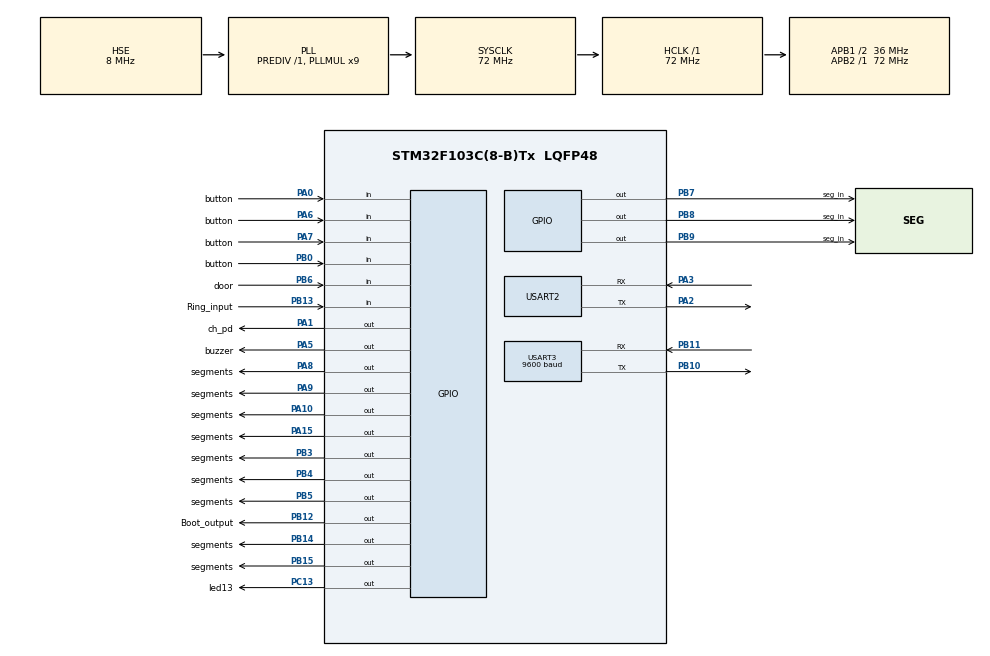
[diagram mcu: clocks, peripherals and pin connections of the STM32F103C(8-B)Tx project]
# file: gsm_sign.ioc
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FREERTOS.Tasks01=defaultTask,0,128,StartDefaultTask,Default,NULL
FREERTOS.configTOTAL_HEAP_SIZE=11000
Mcu.Family=STM32F1
Mcu.Name=STM32F103C(8-B)Tx
Mcu.Package=LQFP48
NVIC.PriorityGroup=NVIC_PRIORITYGROUP_4
NVIC.TIM1_UP_IRQn=true\:0\:0\:false\:false\:true\:false\:false
NVIC.TimeBase=TIM1_UP_IRQn
NVIC.TimeBaseIP=TIM1
NVIC.USART2_IRQn=true\:5\:0\:false\:false\:true\:true\:true
NVIC.USART3_IRQn=true\:5\:0\:false\:false\:true\:true\:true
PA0-WKUP.GPIO_Label=button
PA0-WKUP.GPIO_PuPd=GPIO_PULLDOWN
PA0-WKUP.Signal=GPIO_Input
PA1.GPIO_Label=ch_pd
PA1.Signal=GPIO_Output
PA10.GPIO_Label=segments
PA10.GPIO_Speed=GPIO_SPEED_FREQ_HIGH
PA10.Signal=GPIO_Output
PA13.Mode=Serial_Wire
PA13.Signal=SYS_JTMS-SWDIO
PA14.Mode=Serial_Wire
PA14.Signal=SYS_JTCK-SWCLK
PA15.GPIO_Label=segments
PA15.GPIO_Speed=GPIO_SPEED_FREQ_HIGH
PA15.Signal=GPIO_Output
PA2.Mode=Asynchronous
PA2.Signal=USART2_TX
PA3.Mode=Asynchronous
PA3.Signal=USART2_RX
PA5.GPIO_Label=buzzer
PA5.GPIO_Speed=GPIO_SPEED_FREQ_MEDIUM
PA5.PinState=GPIO_PIN_SET
PA5.Signal=GPIO_Output
PA6.GPIO_Label=button
PA6.GPIO_PuPd=GPIO_PULLDOWN
PA6.Signal=GPIO_Input
PA7.GPIO_Label=button
PA7.GPIO_PuPd=GPIO_PULLDOWN
PA7.Signal=GPIO_Input
PA8.GPIO_Label=segments
PA8.GPIO_Speed=GPIO_SPEED_FREQ_HIGH
PA8.Signal=GPIO_Output
PA9.GPIO_Label=segments
PA9.GPIO_Speed=GPIO_SPEED_FREQ_HIGH
PA9.Signal=GPIO_Output
PB0.GPIO_Label=button
PB0.GPIO_PuPd=GPIO_PULLDOWN
PB0.Signal=GPIO_Input
PB10.Mode=Asynchronous
PB10.Signal=USART3_TX
PB11.Mode=Asynchronous
PB11.Signal=USART3_RX
PB12.GPIO_Label=Boot_output
PB12.Signal=GPIO_Output
PB13.GPIO_Label=Ring_input
PB13.GPIO_PuPd=GPIO_PULLDOWN
PB13.Signal=GPIO_Input
PB14.GPIO_Label=segments
PB14.GPIO_Speed=GPIO_SPEED_FREQ_HIGH
PB14.Signal=GPIO_Output
PB15.GPIO_Label=segments
PB15.GPIO_Speed=GPIO_SPEED_FREQ_HIGH
PB15.Signal=GPIO_Output
PB3.GPIO_Label=segments
PB3.GPIO_Speed=GPIO_SPEED_FREQ_HIGH
PB3.Signal=GPIO_Output
PB4.GPIO_Label=segments
PB4.GPIO_Speed=GPIO_SPEED_FREQ_HIGH
PB4.Signal=GPIO_Output
PB5.GPIO_Label=segments
PB5.GPIO_Speed=GPIO_SPEED_FREQ_HIGH
PB5.Signal=GPIO_Output
PB6.GPIO_Label=door
PB6.GPIO_PuPd=GPIO_PULLDOWN
PB6.Signal=GPIO_Input
PB7.GPIO_Label=seg_in
PB7.GPIO_Speed=GPIO_SPEED_FREQ_HIGH
PB7.Signal=GPIO_Output
PB8.GPIO_Label=seg_in
PB8.GPIO_Speed=GPIO_SPEED_FREQ_HIGH
PB8.Signal=GPIO_Output
PB9.GPIO_Label=seg_in
PB9.GPIO_Speed=GPIO_SPEED_FREQ_HIGH
PB9.Signal=GPIO_Output
PC13-TAMPER-RTC.GPIO_Label=led13
PC13-TAMPER-RTC.PinState=GPIO_PIN_SET
PC13-TAMPER-RTC.Signal=GPIO_Output
PD0-OSC_IN.Mode=HSE-External-Oscillator
PD0-OSC_IN.Signal=RCC_OSC_IN
PD1-OSC_OUT.Mode=HSE-External-Oscillator
PD1-OSC_OUT.Signal=RCC_OSC_OUT
ProjectManager.HeapSize=0x100
ProjectManager.StackSize=0x100
ProjectManager.TargetToolchain=TrueSTUDIO
RCC.AHBFreq_Value=72000000
RCC.APB1CLKDivider=RCC_HCLK_DIV2
RCC.APB1Freq_Value=36000000
RCC.APB1TimFreq_Value=72000000
RCC.APB2Freq_Value=72000000
RCC.APB2TimFreq_Value=72000000
RCC.HCLKFreq_Value=72000000
RCC.PLLMUL=RCC_PLL_MUL9
RCC.PLLSourceVirtual=RCC_PLLSOURCE_HSE
RCC.SYSCLKFreq_VALUE=72000000
RCC.SYSCLKSource=RCC_SYSCLKSOURCE_PLLCLK
RCC.USBFreq_Value=48000000
RCC.USBPrescaler=RCC_USBCLKSOURCE_PLL_DIV1_5
USART2.VirtualMode=VM_ASYNC
USART3.BaudRate=9600
USART3.VirtualMode=VM_ASYNC
VP_FREERTOS_VS_ENABLE.Mode=Enabled
VP_SYS_VS_tim1.Mode=TIM1
board=gsm_sign

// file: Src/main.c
/**
  ******************************************************************************
  * File Name          : main.c
  * Description        : Main program body
  ******************************************************************************
  * This notice applies to any and all portions of this file
  * that are not between comment pairs USER CODE BEGIN and
  * USER CODE END. Other portions of this file, whether
  * inserted by the user or by software development tools
  * are owned by their respective copyright owners.
  *
  * Copyright (c) 2018 STMicroelectronics International N.V.
  * All rights reserved.
  *
  * Redistribution and use in source and binary forms, with or without
  * modification, are permitted, provided that the following conditions are met:
  *
  * 1. Redistribution of source code must retain the above copyright notice,
  *    this list of conditions and the following disclaimer.
  * 2. Redistributions in binary form must reproduce the above copyright notice,
  *    this list of conditions and the following disclaimer in the documentation
  *    and/or other materials provided with the distribution.
  * 3. Neither the name of STMicroelectronics nor the names of other
  *    contributors to this software may be used to endorse or promote products
  *    derived from this software without specific written permission.
  * 4. This software, including modifications and/or derivative works of this
  *    software, must execute solely and exclusively on microcontroller or
  *    microprocessor devices manufactured by or for STMicroelectronics.
  * 5. Redistribution and use of this software other than as permitted under
  *    this license is void and will automatically terminate your rights under
  *    this license.
  *
  * THIS SOFTWARE IS PROVIDED BY STMICROELECTRONICS AND CONTRIBUTORS "AS IS"
  * AND ANY EXPRESS, IMPLIED OR STATUTORY WARRANTIES, INCLUDING, BUT NOT
  * LIMITED TO, THE IMPLIED WARRANTIES OF MERCHANTABILITY, FITNESS FOR A
  * PARTICULAR PURPOSE AND NON-INFRINGEMENT OF THIRD PARTY INTELLECTUAL PROPERTY
  * RIGHTS ARE DISCLAIMED TO THE FULLEST EXTENT PERMITTED BY LAW. IN NO EVENT
  * SHALL STMICROELECTRONICS OR CONTRIBUTORS BE LIABLE FOR ANY DIRECT, INDIRECT,
  * INCIDENTAL, SPECIAL, EXEMPLARY, OR CONSEQUENTIAL DAMAGES (INCLUDING, BUT NOT
  * LIMITED TO, PROCUREMENT OF SUBSTITUTE GOODS OR SERVICES; LOSS OF USE, DATA,
  * OR PROFITS; OR BUSINESS INTERRUPTION) HOWEVER CAUSED AND ON ANY THEORY OF
  * LIABILITY, WHETHER IN CONTRACT, STRICT LIABILITY, OR TORT (INCLUDING
  * NEGLIGENCE OR OTHERWISE) ARISING IN ANY WAY OUT OF THE USE OF THIS SOFTWARE,
  * EVEN IF ADVISED OF THE POSSIBILITY OF SUCH DAMAGE.
  *
  ******************************************************************************
  */

#include "main.h"
#include "stm32f1xx_hal.h"
#include "cmsis_os.h"
#include "usart.h"
#include "gpio.h"

/* USER CODE BEGIN Includes */

#include "Logic.h"

/* USER CODE END Includes */

/* USER CODE BEGIN PV */
/* Private variables ---------------------------------------------------------*/

/* USER CODE END PV */

void SystemClock_Config(void);
void MX_FREERTOS_Init(void);

/* USER CODE BEGIN PFP */
/* Private function prototypes -----------------------------------------------*/

TaskHandle_t *logicTaskHandler;
TaskHandle_t *ioTaskHandler;
TaskHandle_t *gsmTaskHandler;
TaskHandle_t *espTaskHandler;

/* USER CODE END PFP */

/* USER CODE BEGIN 0 */

void TestTask(void *pvParameters) {
	volatile uint32_t heap = 0;
	volatile uint32_t stack[4] = { 0, 0, 0 };

	while(1) {

		heap = xPortGetFreeHeapSize();

		stack[0] = uxTaskGetStackHighWaterMark(logicTaskHandler);
		stack[1] = uxTaskGetStackHighWaterMark(gsmTaskHandler);
		stack[2] = uxTaskGetStackHighWaterMark(ioTaskHandler);
		stack[3] = uxTaskGetStackHighWaterMark(espTaskHandler);

		vTaskDelay(10000);

	}

}

/* USER CODE END 0 */

int main(void)
{

  /* MCU Configuration----------------------------------------------------------*/

  /* Reset of all peripherals, Initializes the Flash interface and the Systick. */
  HAL_Init();

  /* Configure the system clock */
  SystemClock_Config();

  /* Initialize all configured peripherals */
  MX_GPIO_Init();
  MX_USART3_UART_Init();
  MX_USART2_UART_Init();

  /* USER CODE BEGIN 2 */

  Logic_InitEverything();

  xTaskCreate(TestTask, "Test task", configMINIMAL_STACK_SIZE, NULL, 1, NULL);

  /* USER CODE END 2 */

  /* Call init function for freertos objects (in freertos.c) */
  MX_FREERTOS_Init();

  /* Start scheduler */
  osKernelStart();

  /* We should never get here as control is now taken by the scheduler */

  /* Infinite loop */
  while (1)
  {

  }

}

/** System Clock Configuration
*/
void SystemClock_Config(void)
{

  RCC_OscInitTypeDef RCC_OscInitStruct;
  RCC_ClkInitTypeDef RCC_ClkInitStruct;

    /**Initializes the CPU, AHB and APB busses clocks
    */
  RCC_OscInitStruct.OscillatorType = RCC_OSCILLATORTYPE_HSE;
  RCC_OscInitStruct.HSEState = RCC_HSE_ON;
  RCC_OscInitStruct.HSEPredivValue = RCC_HSE_PREDIV_DIV1;
  RCC_OscInitStruct.HSIState = RCC_HSI_ON;
  RCC_OscInitStruct.PLL.PLLState = RCC_PLL_ON;
  RCC_OscInitStruct.PLL.PLLSource = RCC_PLLSOURCE_HSE;
  RCC_OscInitStruct.PLL.PLLMUL = RCC_PLL_MUL9;
  if (HAL_RCC_OscConfig(&RCC_OscInitStruct) != HAL_OK)
  {
    _Error_Handler(__FILE__, __LINE__);
  }

    /**Initializes the CPU, AHB and APB busses clocks
    */
  RCC_ClkInitStruct.ClockType = RCC_CLOCKTYPE_HCLK|RCC_CLOCKTYPE_SYSCLK
                              |RCC_CLOCKTYPE_PCLK1|RCC_CLOCKTYPE_PCLK2;
  RCC_ClkInitStruct.SYSCLKSource = RCC_SYSCLKSOURCE_PLLCLK;
  RCC_ClkInitStruct.AHBCLKDivider = RCC_SYSCLK_DIV1;
  RCC_ClkInitStruct.APB1CLKDivider = RCC_HCLK_DIV2;
  RCC_ClkInitStruct.APB2CLKDivider = RCC_HCLK_DIV1;

  if (HAL_RCC_ClockConfig(&RCC_ClkInitStruct, FLASH_LATENCY_2) != HAL_OK)
  {
    _Error_Handler(__FILE__, __LINE__);
  }

    /**Configure the Systick interrupt time
    */
  HAL_SYSTICK_Config(HAL_RCC_GetHCLKFreq()/1000);

    /**Configure the Systick
    */
  HAL_SYSTICK_CLKSourceConfig(SYSTICK_CLKSOURCE_HCLK);

  /* SysTick_IRQn interrupt configuration */
  HAL_NVIC_SetPriority(SysTick_IRQn, 15, 0);
}

void HAL_TIM_PeriodElapsedCallback(TIM_HandleTypeDef *htim)
{
  if (htim->Instance == TIM1) {
    HAL_IncTick();
  }
}

void _Error_Handler(char * file, int line)
{
  while(1)
  {
  }
}

/************************ (C) COPYRIGHT STMicroelectronics *****END OF FILE****/
